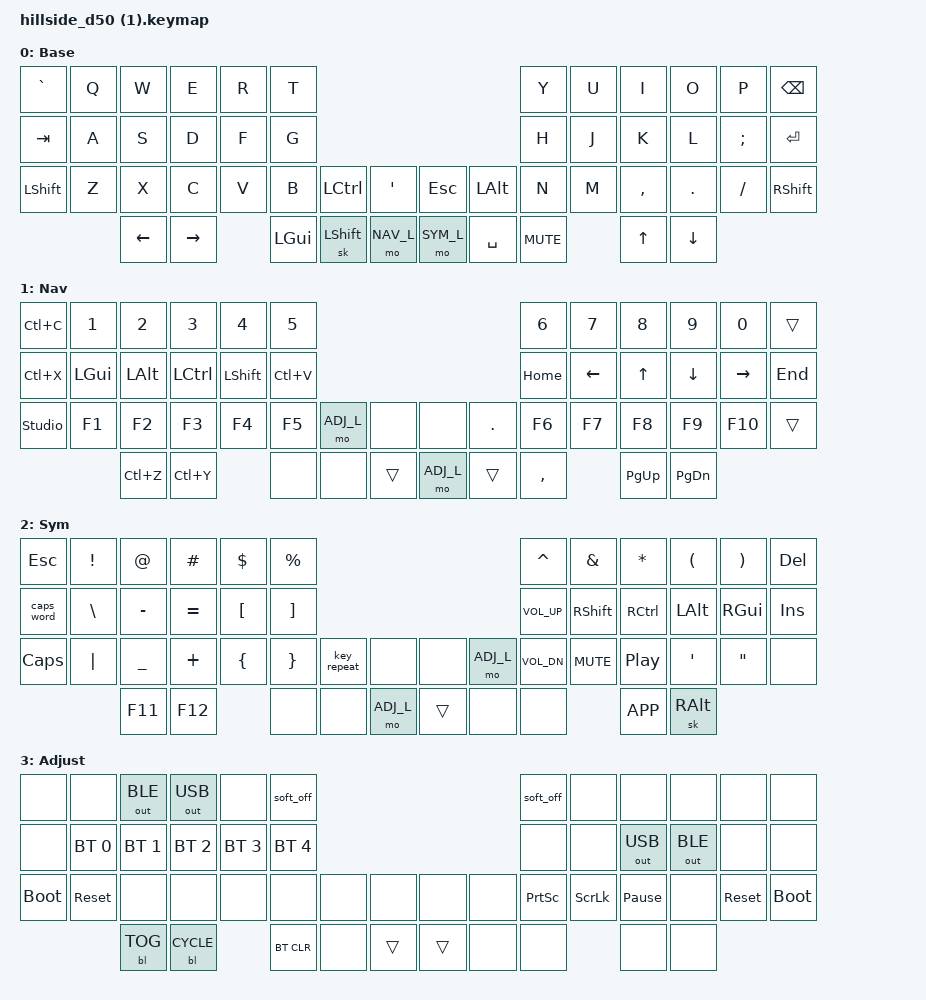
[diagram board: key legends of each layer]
// User default keymap.

// It is recommended to not edit this in boards/shields/hillside_d50/,
// but rather to copy into config/ and edit there.

#include <behaviors.dtsi>
#include <dt-bindings/zmk/bt.h>
#include <dt-bindings/zmk/ext_power.h>
#include <dt-bindings/zmk/keys.h>
#include <dt-bindings/zmk/outputs.h>
#include <dt-bindings/zmk/rgb.h>

// Can only use one of backlight or RGB
#include <dt-bindings/zmk/backlight.h>
//#include <dt-bindings/zmk/rgb.h>

#define BASE_L   0
#define NAV_L    1
#define SYM_L    2
#define ADJ_L    3

#define Undo   LC(Z)
#define Cut    LC(X)
#define Copy   LC(C)
#define Paste  LC(V)
#define Redo   LC(Y)

/ {
    keymap {
        compatible = "zmk,keymap";


// // Build test layer, if using the bare LED.
// // Need to also ensure normal layers don't use smart LED key codes, such as by commenting them all out.
// // col 0         1               2                 3                4              5
//         test_layer { bindings = <
// &kp  TAB        &kp  Q          &kp  W            &kp  E           &kp  R         &kp  T                                                          &kp  Y        &kp  U         &kp  I            &kp  O           &kp  P           &kp  LBKT
// &bl  BL_TOG     &bl  BL_CYCLE   &kp  S            &ext_power EP_ON &out OUT_USB   &out OUT_BLE                                                    &out OUT_BLE  &out OUT_USB   &ext_power EP_ON  &kp  L           &bl  BL_CYCLE    &bl  BL_TOG
// &kp  N0         &kp  N1         &kp  N2           &kp  N3          &kp  N4        &kp  N5        &kp  N1   &kp  N2            &kp  N2   &kp  N1   &kp  N5       &kp  N4        &kp  N3           &kp  N2          &kp  N1          &kp  N0
//                                 &kp  X            &kp  C                          &kp  N5        &kp  N4   &kp  N3            &kp  N3   &kp  N4   &kp  N5                      &kp  COMMA        &kp  DOT
//                          >; };

// // Build test layer, if using the smart RGB LEDs.
// // Need to also ensure normal layers don't use bare LED key codes, such as by commenting them all out.
// // col 0         1               2                 3                4              5
//         test_layer { bindings = <
// &kp  TAB        &kp  Q          &kp  W            &kp  E           &kp  R         &kp  T                                                          &kp  Y        &kp  U         &kp  I            &kp  O           &kp  P           &kp  LBKT
// &rgb_ug RGB_ON  &rgb_ug RGB_BRI &rgb_ug RGB_OFF   &ext_power EP_ON &out OUT_USB   &out OUT_BLE                                                    &out OUT_BLE  &out OUT_USB   &ext_power EP_ON  &rgb_ug RGB_OFF  &rgb_ug RGB_BRI  &rgb_ug RGB_ON
// &kp  N0         &kp  N1         &kp  N2           &kp  N3          &kp  N4        &kp  N5        &kp  N1   &kp  N2            &kp  N2   &kp  N1   &kp  N5       &kp  N4        &kp  N3           &kp  N2          &kp  N1          &kp  N0
//                                 &kp  X            &kp  C                          &kp  N5        &kp  N4   &kp  N3            &kp  N3   &kp  N4   &kp  N5                      &kp  COMMA        &kp  DOT
//                          >; };

        default_layer {
            display-name = "Base";
            bindings = <
&kp  GRAVE    &kp  Q        &kp  W        &kp  E        &kp  R        &kp  T                                                                      &kp  Y        &kp  U        &kp  I        &kp  O        &kp  P        &kp  BSPC
&kp  TAB      &kp  A        &kp  S        &kp  D        &kp  F        &kp  G                                                                      &kp  H        &kp  J        &kp  K        &kp  L        &kp  SEMI     &kp  ENTER
&kp  LSHFT    &kp  Z        &kp  X        &kp  C        &kp  V        &kp  B        &kp  LCTRL    &kp  SQT            &kp  ESC      &kp  LALT     &kp  N        &kp  M        &kp  COMMA    &kp  DOT      &kp  SLASH    &kp  RSHFT
                            &kp  LEFT     &kp  RIGHT                  &kp  LGUI     &sk  LSHIFT   &mo  NAV_L          &mo  SYM_L    &kp  SPACE    &kp  C_MUTE                 &kp  UP       &kp  DOWN
                        >;
                };
        nav_layer {
            display-name = "Nav";
            bindings = <
&kp  Copy     &kp  N1       &kp  N2       &kp  N3       &kp  N4       &kp  N5                                                                     &kp   N6      &kp  N7       &kp   N8      &kp   N9      &kp  N0       &trans
&kp  Cut      &kp  LGUI     &kp  LALT     &kp  LCTRL    &kp  LSHFT    &kp  Paste                                                                  &kp   HOME    &kp  LEFT     &kp   UP      &kp   DOWN    &kp  RIGHT    &kp  END
&studio_unlock      &kp  F1       &kp  F2       &kp  F3       &kp  F4       &kp  F5       &mo  ADJ_L    &none               &none         &kp  DOT      &kp   F6      &kp  F7       &kp   F8      &kp   F9      &kp  F10      &trans
                            &kp  Undo     &kp  Redo                   &none         &none         &trans              &mo ADJ_L     &trans        &kp   COMMA                 &kp   PG_UP   &kp   PG_DN 
                        >;
                };

        sym_layer {
            display-name = "Sym";
            bindings = <
&kp  ESC      &kp  EXCL     &kp  AT       &kp  HASH     &kp  DOLLAR   &kp  PERCENT                                                                &kp  CARET    &kp  AMPS     &kp  ASTRK    &kp  LPAR     &kp  RPAR     &kp  DEL
&caps_word    &kp  BSLH     &kp  MINUS    &kp  EQUAL    &kp  LBKT     &kp  RBKT                                                                   &kp C_VOL_UP  &kp  RSHFT    &kp  RCTRL    &kp  LALT     &kp  RGUI     &kp  INS
&kp CAPSLOCK  &kp  PIPE     &kp  UNDER    &kp  PLUS     &kp  LBRC     &kp  RBRC     &key_repeat   &none               &none         &mo  ADJ_L    &kp C_VOL_DN  &kp  C_MUTE   &kp  C_PP     &kp  SQT      &kp  DQT      &none
                            &kp  F11      &kp  F12                    &none         &none         &mo  ADJ_L          &trans        &none         &none                       &kp  K_APP    &sk  RALT
                        >;
                };

        adj_layer {
            display-name = "Adjust";
            bindings = <
&none         &none         &out OUT_BLE  &out OUT_USB  &none         &soft_off                                                                   &soft_off     &none         &none         &none         &none         &none
&none         &bt  BT_SEL 0 &bt  BT_SEL 1 &bt  BT_SEL 2 &bt  BT_SEL 3 &bt  BT_SEL 4                                                               &none         &none         &out OUT_USB  &out OUT_BLE  &none         &none
&bootloader   &sys_reset    &none         &none         &none         &none         &none         &none               &none         &none         &kp PSCRN     &kp SLCK      &kp PAUSE_BREAK  &none      &sys_reset    &bootloader
                            &bl  BL_TOG   &bl  BL_CYCLE               &bt  BT_CLR   &none         &trans              &trans        &none         &none                       &none         &none
                        >;
                };

        extra1_layer {
            status = "reserved";
        };

        extra2_layer {
            status = "reserved";
        };



    };
};

